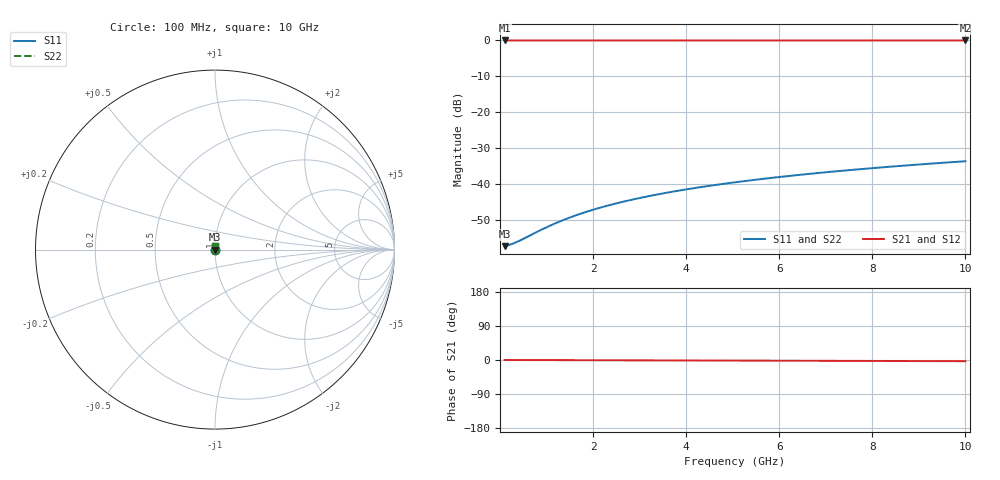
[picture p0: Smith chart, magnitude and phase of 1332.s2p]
# Hz S RI R 50.00
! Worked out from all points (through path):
!   100 points, 100 MHz to 10 GHz, reference 50 ohm
!   highest |S21| = -0.01 dB at 100 MHz (marker M1); lowest = 0.0 dB at 10 GHz (marker M2)
!   lowest |S11| = -57.3 dB at 100 MHz (marker M3), VSWR 1.00, Z = 50.1 + j0.0207 ohm
!   |S11| at or under -10 dB: start of sweep to end of sweep
!   |S22| runs from -57.3 to -33.7 dB; largest |S21 - S12| = 0
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1e8  0.00134 0.000206  0.9987 -0.000544  0.9987 -0.000544  0.00134 0.000206
2e8  0.00135 0.000412  0.9986 -0.00109  0.9986 -0.00109  0.00135 0.000412
3e8  0.00136 0.000618  0.9986 -0.00163  0.9986 -0.00163  0.00136 0.000618
4e8  0.00136 0.000824  0.9986 -0.00218  0.9986 -0.00218  0.00136 0.000824
9e8  0.00139 0.00185  0.9986 -0.00489  0.9986 -0.00489  0.00139 0.00185
1.2e9  0.0014 0.00247  0.9986 -0.00653  0.9986 -0.00653  0.0014 0.00247
1.5e9  0.00142 0.00309  0.9986 -0.00816  0.9986 -0.00816  0.00142 0.00309
1.8e9  0.00144 0.00371  0.9985 -0.00979  0.9985 -0.00979  0.00144 0.00371
2.1e9  0.00145 0.00432  0.9985 -0.0114  0.9985 -0.0114  0.00145 0.00432
2.5e9  0.00148 0.00515  0.9985 -0.0136  0.9985 -0.0136  0.00148 0.00515
2.9e9  0.00151 0.00597  0.9984 -0.0158  0.9984 -0.0158  0.00151 0.00597
3.4e9  0.00155 0.007  0.9984 -0.0185  0.9984 -0.0185  0.00155 0.007
3.8e9  0.00159 0.00782  0.9983 -0.0207  0.9983 -0.0207  0.00159 0.00782
4.2e9  0.00163 0.00864  0.9983 -0.0228  0.9983 -0.0228  0.00163 0.00864
4.6e9  0.00168 0.00947  0.9982 -0.025  0.9982 -0.025  0.00168 0.00947
5.1e9  0.00174 0.0105  0.9981 -0.0277  0.9981 -0.0277  0.00174 0.0105
5.9e9  0.00184 0.0121  0.9979 -0.0321  0.9979 -0.0321  0.00184 0.0121
6.7e9  0.00197 0.0138  0.9978 -0.0364  0.9978 -0.0364  0.00197 0.0138
7.5e9  0.0021 0.0154  0.9976 -0.0408  0.9976 -0.0408  0.0021 0.0154
8.4e9  0.00227 0.0173  0.9973 -0.0457  0.9973 -0.0457  0.00227 0.0173
9.2e9  0.00244 0.0189  0.997 -0.05  0.997 -0.05  0.00244 0.0189
1e10  0.00262 0.0205  0.9968 -0.0544  0.9968 -0.0544  0.00262 0.0205
